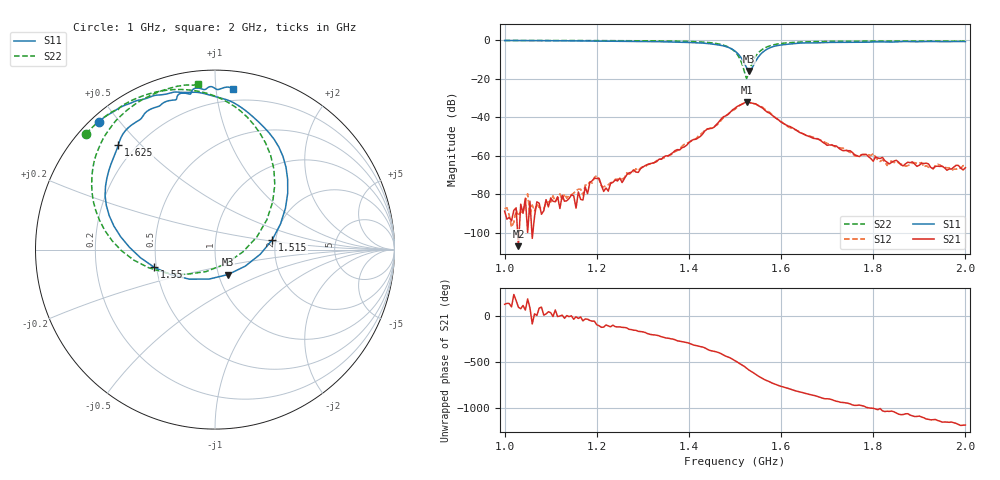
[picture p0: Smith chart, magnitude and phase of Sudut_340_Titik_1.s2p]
# Hz S RI R 50
! CMT, C1220, 16058040, 17.2.0/1
! Date: 14/08/2018 12:59:20
! Data: Format (Calibration Info)
! Freq  S11: Re/Im (F2)  S21: Re/Im (F2)  S12: Re/Im (F2)  S22: Re/Im (F2)
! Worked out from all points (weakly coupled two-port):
!   201 points, 1 GHz to 2 GHz, reference 50 ohm
!   highest |S21| = -32.09 dB at 1.525 GHz (marker M1); lowest = -106.8 dB at 1.03 GHz (marker M2)
!   lowest |S11| = -16.1 dB at 1.53 GHz (marker M3), VSWR 1.37, Z = 55.5 - j15.8 ohm
!   |S11| at or under -10 dB: 1.515 GHz to 1.548 GHz (32.07 MHz wide, 2.09 % of centre)
!   |S22| runs from -20.0 to -0.3 dB; largest |S21 - S12| = 0.0011
!   S11 on the Smith chart (normalised r, x): 1 GHz: 0.02, +0.44; 1.515 GHz: 1.92, +0.23; 1.55 GHz: 0.49, -0.11; 1.625 GHz: 0.14, +0.43; 2 GHz: 0.11, +1.11
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1e9  -0.6483 0.7117  -2.05e-05 3.08e-05  -4.18e-05 -9.07e-06  -0.719 0.6458
1.03e9  -0.6211 0.7342  -1.85e-07 4.58e-06  -2.78e-05 -1.02e-06  -0.6981 0.6675
1.17e9  -0.4637 0.8187  4.11e-05 -5.88e-05  8.04e-05 -5.37e-05  -0.5767 0.7658
1.175e9  -0.4568 0.8219  0.000128 -8.88e-05  0.000138 -0.000106  -0.571 0.7688
1.18e9  -0.4495 0.8251  8.37e-05 -6.29e-05  0.000131 -0.000115  -0.5655 0.7715
1.185e9  -0.4419 0.828  0.000129 -0.000158  0.000119 -0.000176  -0.5597 0.7743
1.2e9  -0.4203 0.8331  -3.45e-05 -0.000256  -1.57e-05 -0.000305  -0.5429 0.7778
1.21e9  -0.4073 0.8356  -9.92e-05 -0.000143  -9.7e-05 -0.000134  -0.5383 0.7815
1.225e9  -0.3845 0.8417  -3.99e-05 -0.000115  -1.09e-05 -0.000178  -0.5255 0.7959
1.24e9  -0.3596 0.851  -0.00011 -0.000208  -0.000104 -0.000224  -0.5076 0.8079
1.335e9  -0.1933 0.8763  -0.000655 0.000483  -0.000605 0.000571  -0.3599 0.8699
1.45e9  0.1905 0.7582  0.00482 -0.00175  0.00482 -0.00211  0.046 0.8346
1.5e9  0.4052 0.3153  -0.00979 -0.0139  -0.00923 -0.0131  0.3332 0.3615
1.515e9  0.3188 0.0543  -0.0212 -0.00356  -0.0212 -0.00415  0.233 0.0702
1.525e9  0.1691 -0.0919  -0.0225 0.0106  -0.0228 0.0105  0.06 -0.0796
1.53e9  0.0727 -0.1388  -0.017 0.0171  -0.0172 0.0172  -0.05 -0.1225
1.55e9  -0.3381 -0.0989  0.00678 0.0189  0.00605 0.0192  -0.4523 -0.0585
1.58e9  -0.6054 0.2457  0.0114 -0.00109  0.0117 -0.0016  -0.6773 0.2665
1.625e9  -0.5387 0.5829  0.000847 -0.00521  0.000975 -0.00495  -0.6491 0.5625
1.67e9  -0.4251 0.7196  -0.00215 -0.00184  -0.00229 -0.00195  -0.5661 0.7012
1.835e9  -0.1393 0.8659  0.00042 0.000452  0.00049 0.000513  -0.3151 0.8785
2e9  0.0976 0.8973  -9.05e-05 -0.000484  -0.000108 -0.000537  -0.0973 0.9224
